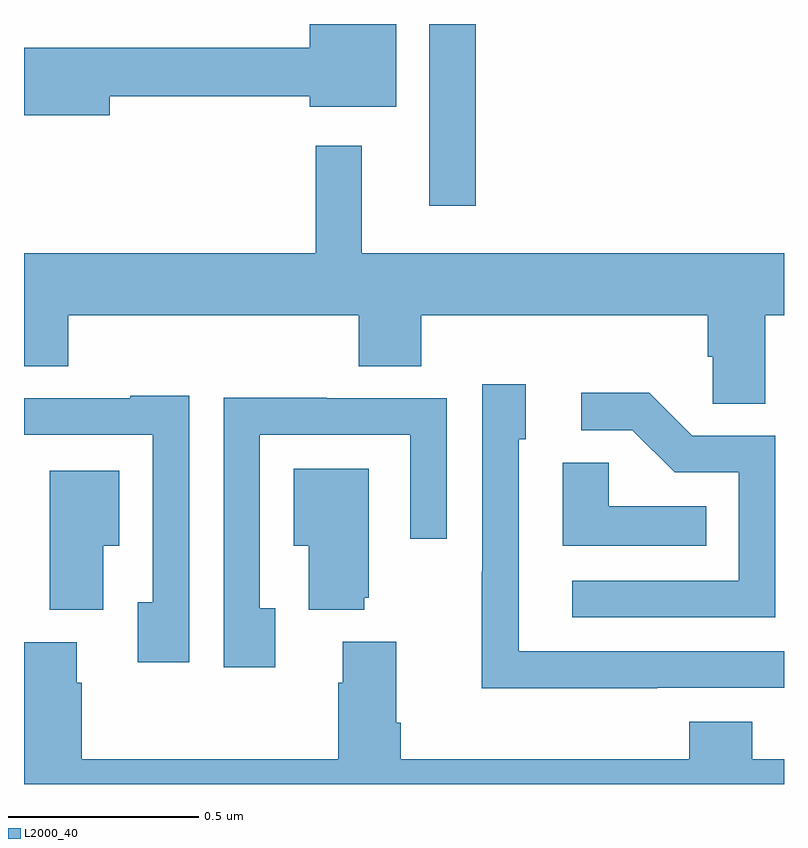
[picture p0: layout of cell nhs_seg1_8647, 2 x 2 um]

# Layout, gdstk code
import gdstk
lib = gdstk.Library(unit=1e-6, precision=1e-09)
def R(c, l, rs):  # rectangles x0, y0, x1, y1
    for r in rs: c.add(gdstk.rectangle(r[:2], r[2:], *l))
def P(c, l, *ps):  # polygons
    for p in ps: c.add(gdstk.Polygon(p, *l))
L2000_40 = (2000, 40)

nhs_seg1_8647 = lib.new_cell('nhs_seg1_8647')
R(nhs_seg1_8647, L2000_40, [(220.067,518.721,220.189,519.199)])
P(nhs_seg1_8647, L2000_40, [(219.226,519.009),(219.752,519.009),(219.752,518.981),(219.979,518.981),(219.979,519.199),(219.752,519.199),(219.752,519.137),(219,519.137),(219,518.959),(219.226,518.959)],
  [(220.951,518.432),(221,518.432),(221,518.596),(219.889,518.596),(219.889,518.878),(219.768,518.878),(219.768,518.596),(219,518.596),(219,518.299),(219.116,518.299),(219.116,518.432),(219.881,518.432),(219.881,518.299),(220.046,518.299),(220.046,518.432),(220.799,518.432),(220.799,518.323),(220.812,518.323),(220.812,518.2),(220.951,518.2)],
  [(220.667,517.452),(221,517.452),(221,517.548),(220.302,517.548),(220.302,518.106),(220.321,518.106),(220.321,518.251),(220.206,518.251),(220.206,517.757),(220.204,517.757),(220.204,517.451),(220.667,517.451)],
  [(220.977,518.115),(220.758,518.115),(220.645,518.228),(220.467,518.228),(220.467,518.13),(220.601,518.13),(220.712,518.019),(220.881,518.019),(220.881,517.734),(220.443,517.734),(220.443,517.638),(220.977,517.638)],
  [(219.435,518.221),(219.279,518.221),(219.279,518.214),(219,518.214),(219,518.118),(219.339,518.118),(219.339,517.677),(219.299,517.677),(219.299,517.52),(219.435,517.52)],
  [(219.661,517.662),(219.621,517.662),(219.621,518.118),(220.017,518.118),(220.017,517.845),(220.113,517.845),(220.113,518.214),(219.797,518.214),(219.797,518.216),(219.525,518.216),(219.525,517.506),(219.661,517.506)],
  [(220.796,517.93),(220.539,517.93),(220.539,518.045),(220.418,518.045),(220.418,517.826),(220.796,517.826)],
  [(219.896,517.689),(219.907,517.689),(219.907,518.029),(219.71,518.029),(219.71,517.826),(219.749,517.826),(219.749,517.658),(219.896,517.658)],
  [(219.208,517.826),(219.25,517.826),(219.25,518.023),(219.068,518.023),(219.068,517.657),(219.208,517.657)],
  [(221,517.264),(220.916,517.264),(220.916,517.363),(220.751,517.363),(220.751,517.264),(219.992,517.264),(219.992,517.36),(219.979,517.36),(219.979,517.573),(219.839,517.573),(219.839,517.466),(219.827,517.466),(219.827,517.264),(219.152,517.264),(219.152,517.466),(219.139,517.466),(219.139,517.572),(219,517.572),(219,517.199),(221,517.199)])

lib.write_gds('nhs_seg1_8647.gds')
